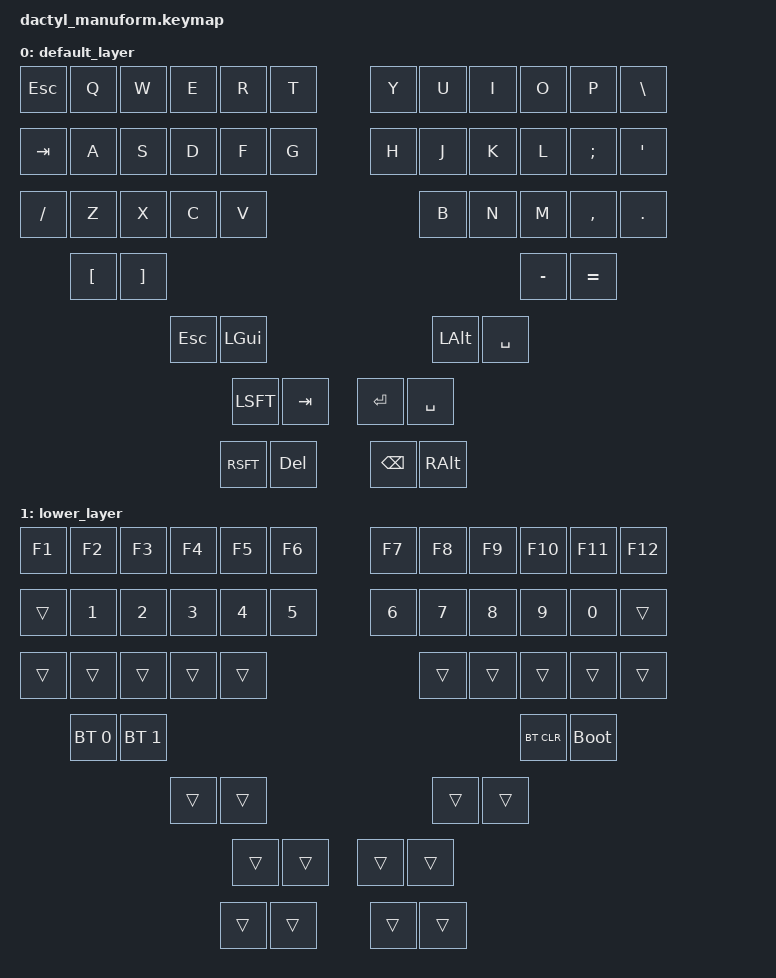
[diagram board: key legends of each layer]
#include <behaviors.dtsi>
#include <dt-bindings/zmk/keys.h>
#include <dt-bindings/zmk/bt.h>
#include <dt-bindings/zmk/outputs.h>
#include <dt-bindings/zmk/mouse.h>

#define DEFAULT 0
#define LOWER 1


/ {
    keymap {
        compatible = "zmk,keymap";

                default_layer {
            bindings = <
                &kp ESC  &kp Q  &kp W  &kp E  &kp R  &kp T  &kp Y  &kp U  &kp I  &kp O  &kp P  &kp BSLH
                
                &kp TAB  &kp A  &kp S  &kp D  &kp F  &kp G  &kp H  &kp J  &kp K  &kp L  &kp SEMI  &kp SQT
                
                &kp FSLH  &kp Z  &kp X  &kp C  &kp V  &kp B  &kp N  &kp M  &kp COMMA  &kp DOT
                
                &kp LBKT  &kp RBKT  &kp MINUS  &kp EQUAL

                &kp ESC  &kp LGUI  &kp LALT  &kp SPACE  &kp LSFT  &kp TAB  &kp ENTER  &kp SPACE  &kp RSFT  &kp DEL  &kp BSPC  &kp RALT 
            >;
        };

        lower_layer {
            bindings = <
                &kp F1  &kp F2  &kp F3  &kp F4  &kp F5  &kp F6  &kp F7  &kp F8  &kp F9  &kp F10  &kp F11 &kp F12
                
                &trans  &kp N1  &kp N2  &kp N3  &kp N4  &kp N5  &kp N6  &kp N7  &kp N8  &kp N9  &kp N0  &trans
                
                &trans  &trans  &trans  &trans  &trans  &trans  &trans  &trans  &trans  &trans
                
                &bt BT_SEL 0  &bt BT_SEL 1  &bt BT_CLR  &bootloader
                
                &trans  &trans  &trans  &trans  &trans  &trans  &trans  &trans  &trans  &trans  &trans  &trans
            >;
        };

    };
};
